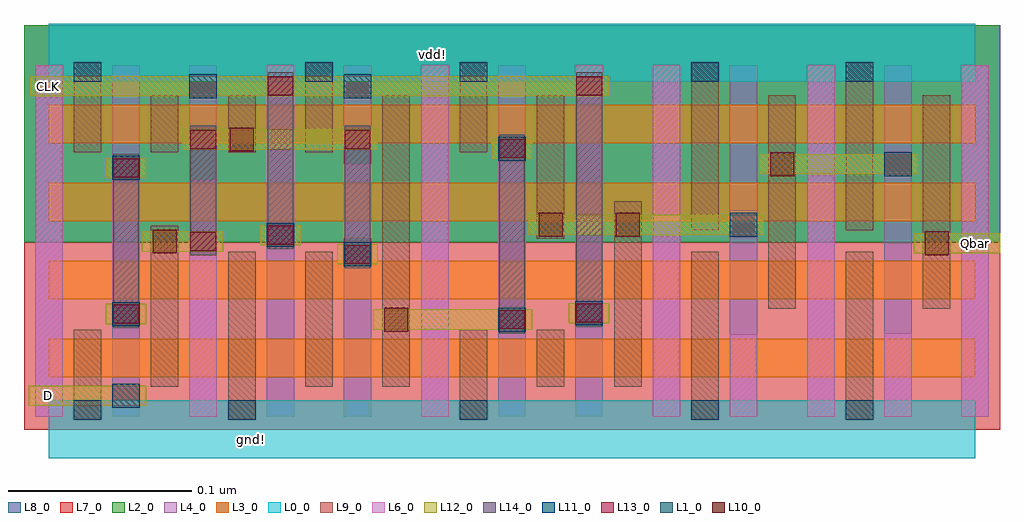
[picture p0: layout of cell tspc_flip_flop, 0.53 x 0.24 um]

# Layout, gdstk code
from math import pi, radians
import gdstk
lib = gdstk.Library(unit=1e-6, precision=5e-10)
def R(c, l, rs):  # rectangles x0, y0, x1, y1
    for r in rs: c.add(gdstk.rectangle(r[:2], r[2:], *l))
def A(c, l, x, y, w, h, nx, ny, dx, dy):  # array of equal rectangles
    R(c, l, [(x+i*dx, y+j*dy, x+i*dx+w, y+j*dy+h) for i in range(nx) for j in range(ny)])
L0_0 = (0, 0)
L1_0 = (1, 0)
L2_0 = (2, 0)
L3_0 = (3, 0)
L4_0 = (4, 0)
L6_0 = (6, 0)
L7_0 = (7, 0)
L8_0 = (8, 0)
L9_0 = (9, 0)
L10_0 = (10, 0)
L11_0 = (11, 0)
L12_0 = (12, 0)
L13_0 = (13, 0)
L14_0 = (14, 0)

pmos = lib.new_cell('pmos')
R(pmos, L2_0, [(-0.042,-0.0205,0.042,0.0205)])
R(pmos, L3_0, [(-0.042,-0.0105,0.042,0.0105)])
A(pmos, L4_0, -0.0495, -0.032, 0.015, 0.064, 3, 1, 0.042, 0)
R(pmos, L8_0, [(-0.0555,-0.0205,0.0555,0.0205)])
R(pmos, L9_0, [(-0.0285,-0.0155,-0.0135,0.0155), (0.0135,-0.0155,0.0285,0.0155)])

nmos = lib.new_cell('nmos')
R(nmos, L3_0, [(-0.042,-0.0105,0.042,0.0105)])
A(nmos, L4_0, -0.0495, -0.032, 0.015, 0.064, 3, 1, 0.042, 0)
R(nmos, L7_0, [(-0.0555,-0.021,0.0555,0.0205)])
R(nmos, L9_0, [(-0.0285,-0.0155,-0.0135,0.0155), (0.0135,-0.0155,0.0285,0.0155)])

m0b_m1 = lib.new_cell('M0B_M1')
R(m0b_m1, L12_0, [(-0.011,-0.005,0.011,0.005)])
R(m0b_m1, L13_0, [(-0.007,-0.005,0.007,0.005)])
R(m0b_m1, L14_0, [(-0.007,-0.0075,0.007,0.0075)])

m0a_m0b = lib.new_cell('M0A_M0B')
R(m0a_m0b, L9_0, [(-0.0075,-0.0055,0.0075,0.0055)])
R(m0a_m0b, L10_0, [(-0.0065,-0.0065,0.0065,0.0065)])
R(m0a_m0b, L12_0, [(-0.0125,-0.0055,0.0125,0.0055)])

bpr_m0a = lib.new_cell('BPR_M0A')
R(bpr_m0a, L0_0, [(-0.021,-0.0055,0.021,0.026)])
R(bpr_m0a, L1_0, [(-0.0075,-0.0055,0.0075,0.005)])
R(bpr_m0a, L9_0, [(-0.0075,-0.0165,0.0075,0.005)])

gate_m0b = lib.new_cell('GATE_M0B')
R(gate_m0b, L4_0, [(-0.0075,-0.0115,0.0075,0.0115)])
R(gate_m0b, L11_0, [(-0.0075,-0.0065,0.0075,0.0065)])
R(gate_m0b, L12_0, [(-0.011,-0.0055,0.011,0.0055)])

tspc_flip_flop = lib.new_cell('tspc_flip_flop')
R(tspc_flip_flop, L0_0, [(0.4025,0.176,0.9065,0.2075), (0.5,0.1795,0.5265,0.1935), (0.4025,0.381,0.9065,0.4125), (0.599,0.3895,0.6235,0.4015)])
R(tspc_flip_flop, L2_0, [(0.389,0.2935,0.92,0.4115)])
R(tspc_flip_flop, L3_0, [(0.7385,0.22,0.9065,0.241), (0.4025,0.2625,0.4865,0.2835), (0.6125,0.2625,0.7385,0.2835), (0.4025,0.305,0.7385,0.326), (0.6965,0.3475,0.7385,0.3685)])
A(tspc_flip_flop, L4_0, 0.395, 0.1985, 0.015, 0.1915, 9, 1, 0.042, 0)
A(tspc_flip_flop, L4_0, 0.815, 0.1985, 0.015, 0.1915, 3, 1, 0.042, 0)
R(tspc_flip_flop, L4_0, [(0.773,0.1985,0.788,0.241), (0.437,0.2625,0.452,0.326), (0.689,0.2625,0.704,0.326)])
A(tspc_flip_flop, L6_0, 0.479, 0.1985, 0.015, 0.1065, 3, 1, 0.126, 0)
A(tspc_flip_flop, L6_0, 0.521, 0.326, 0.015, 0.064, 3, 1, 0.084, 0)
R(tspc_flip_flop, L6_0, [(0.395,0.1985,0.41,0.305), (0.773,0.1985,0.788,0.2435), (0.815,0.1985,0.83,0.241), (0.857,0.1985,0.872,0.244), (0.899,0.1985,0.914,0.241), (0.815,0.241,0.83,0.39), (0.899,0.241,0.914,0.39), (0.647,0.2585,0.662,0.2875), (0.437,0.2615,0.452,0.327), (0.689,0.262,0.704,0.305), (0.647,0.2875,0.662,0.3375), (0.563,0.296,0.578,0.336), (0.521,0.3045,0.536,0.326), (0.395,0.305,0.41,0.326), (0.479,0.305,0.494,0.327), (0.605,0.305,0.62,0.326), (0.689,0.305,0.704,0.326), (0.731,0.305,0.746,0.39), (0.395,0.326,0.41,0.39)])
R(tspc_flip_flop, L7_0, [(0.389,0.1915,0.92,0.2935)])
R(tspc_flip_flop, L8_0, [(0.389,0.2935,0.92,0.4115)])
A(tspc_flip_flop, L9_0, 0.5, 0.2455, 0.015, 0.0125, 3, 1, 0.042, 0)
R(tspc_flip_flop, L9_0, [(0.752,0.2155,0.767,0.2585), (0.836,0.217,0.851,0.2585), (0.71,0.2445,0.725,0.316), (0.458,0.245,0.473,0.3025), (0.794,0.286,0.809,0.3025), (0.878,0.2875,0.893,0.3005), (0.584,0.288,0.599,0.3435), (0.668,0.2955,0.683,0.343), (0.458,0.2995,0.473,0.3015), (0.794,0.3285,0.809,0.3505), (0.878,0.3295,0.893,0.3435), (0.752,0.33,0.767,0.3435), (0.836,0.3305,0.851,0.3445)])
R(tspc_flip_flop, L12_0, [(0.3915,0.2045,0.4555,0.2155), (0.395,0.2045,0.41,0.2155), (0.579,0.246,0.6655,0.257), (0.873,0.2875,0.92,0.2985), (0.899,0.2875,0.914,0.2985), (0.4755,0.2885,0.4975,0.2995), (0.663,0.2975,0.73,0.3085), (0.7285,0.2975,0.7725,0.3085), (0.789,0.3305,0.856,0.3415), (0.4755,0.344,0.4975,0.355), (0.4835,0.344,0.52,0.355), (0.5,0.344,0.5815,0.355), (0.3925,0.373,0.4975,0.384), (0.395,0.373,0.41,0.384), (0.479,0.373,0.7075,0.384)])
R(tspc_flip_flop, L14_0, [(0.6475,0.244,0.6615,0.352), (0.4375,0.247,0.4515,0.3415), (0.6895,0.2475,0.7035,0.386), (0.5635,0.2795,0.5775,0.357), (0.4795,0.2865,0.4935,0.357), (0.5215,0.29,0.5355,0.386)])
tspc_flip_flop.add(gdstk.Reference(pmos, (0.7805,0.358)))
tspc_flip_flop.add(gdstk.Reference(pmos, (0.5705,0.358)))
tspc_flip_flop.add(gdstk.Reference(pmos, (0.4865,0.358)))
tspc_flip_flop.add(gdstk.Reference(pmos, (0.8645,0.358)))
tspc_flip_flop.add(gdstk.Reference(pmos, (0.8645,0.3155)))
tspc_flip_flop.add(gdstk.Reference(pmos, (0.7805,0.3155)))
tspc_flip_flop.add(gdstk.Reference(pmos, (0.4445,0.358)))
tspc_flip_flop.add(gdstk.Reference(pmos, (0.6545,0.358)))
tspc_flip_flop.add(gdstk.Reference(nmos, (0.5285,0.2305)))
tspc_flip_flop.add(gdstk.Reference(nmos, (0.6965,0.2305)))
tspc_flip_flop.add(gdstk.Reference(nmos, (0.4445,0.2305)))
tspc_flip_flop.add(gdstk.Reference(nmos, (0.7805,0.273)))
tspc_flip_flop.add(gdstk.Reference(nmos, (0.5705,0.273)))
tspc_flip_flop.add(gdstk.Reference(nmos, (0.8645,0.273)))
tspc_flip_flop.add(gdstk.Reference(nmos, (0.6545,0.2305)))
tspc_flip_flop.add(gdstk.Reference(nmos, (0.5285,0.273)))
tspc_flip_flop.add(gdstk.Reference(nmos, (0.5705,0.2305)))
tspc_flip_flop.add(gdstk.Reference(m0b_m1, (0.4445,0.334)))
tspc_flip_flop.add(gdstk.Reference(m0b_m1, (0.4445,0.2545)))
tspc_flip_flop.add(gdstk.Reference(m0b_m1, (0.6545,0.2515)))
tspc_flip_flop.add(gdstk.Reference(m0b_m1, (0.6545,0.3445)))
tspc_flip_flop.add(gdstk.Reference(m0b_m1, (0.5705,0.287)))
tspc_flip_flop.add(gdstk.Reference(m0b_m1, (0.5705,0.3495)))
tspc_flip_flop.add(gdstk.Reference(m0b_m1, (0.4865,0.294)))
tspc_flip_flop.add(gdstk.Reference(m0b_m1, (0.6965,0.255)))
tspc_flip_flop.add(gdstk.Reference(m0b_m1, (0.5285,0.3785)))
tspc_flip_flop.add(gdstk.Reference(m0b_m1, (0.6965,0.3785)))
tspc_flip_flop.add(gdstk.Reference(m0b_m1, (0.5285,0.2975)))
tspc_flip_flop.add(gdstk.Reference(m0b_m1, (0.4865,0.3495)))
tspc_flip_flop.add(gdstk.Reference(m0a_m0b, (0.8855,0.293)))
tspc_flip_flop.add(gdstk.Reference(m0a_m0b, (0.8015,0.336)))
tspc_flip_flop.add(gdstk.Reference(m0a_m0b, (0.6755,0.303)))
tspc_flip_flop.add(gdstk.Reference(m0a_m0b, (0.7175,0.303)))
tspc_flip_flop.add(gdstk.Reference(m0a_m0b, (0.5915,0.2515)))
tspc_flip_flop.add(gdstk.Reference(m0a_m0b, (0.4655,0.294)))
tspc_flip_flop.add(gdstk.Reference(m0a_m0b, (0.5075,0.3495)))
tspc_flip_flop.add(gdstk.Reference(bpr_m0a, (0.8435,0.202), rotation=pi))
tspc_flip_flop.add(gdstk.Reference(bpr_m0a, (0.7595,0.202), rotation=pi))
tspc_flip_flop.add(gdstk.Reference(bpr_m0a, (0.8435,0.3865)))
tspc_flip_flop.add(gdstk.Reference(bpr_m0a, (0.7595,0.3865)))
tspc_flip_flop.add(gdstk.Reference(bpr_m0a, (0.6335,0.3865)))
tspc_flip_flop.add(gdstk.Reference(bpr_m0a, (0.6335,0.202), rotation=pi))
tspc_flip_flop.add(gdstk.Reference(bpr_m0a, (0.5495,0.3865)))
tspc_flip_flop.add(gdstk.Reference(bpr_m0a, (0.5075,0.202), rotation=pi))
tspc_flip_flop.add(gdstk.Reference(bpr_m0a, (0.4235,0.3865)))
tspc_flip_flop.add(gdstk.Reference(bpr_m0a, (0.4235,0.202), rotation=pi))
tspc_flip_flop.add(gdstk.Reference(gate_m0b, (0.4445,0.334)))
tspc_flip_flop.add(gdstk.Reference(gate_m0b, (0.4445,0.2545)))
tspc_flip_flop.add(gdstk.Reference(gate_m0b, (0.8645,0.336)))
tspc_flip_flop.add(gdstk.Reference(gate_m0b, (0.7805,0.303)))
tspc_flip_flop.add(gdstk.Reference(gate_m0b, (0.6545,0.3445)))
tspc_flip_flop.add(gdstk.Reference(gate_m0b, (0.6545,0.2515)))
tspc_flip_flop.add(gdstk.Reference(gate_m0b, (0.5705,0.287)))
tspc_flip_flop.add(gdstk.Reference(gate_m0b, (0.6965,0.255)))
tspc_flip_flop.add(gdstk.Reference(gate_m0b, (0.5705,0.3785)))
tspc_flip_flop.add(gdstk.Reference(gate_m0b, (0.5285,0.2975)))
tspc_flip_flop.add(gdstk.Reference(gate_m0b, (0.4445,0.21)))
tspc_flip_flop.add(gdstk.Reference(gate_m0b, (0.4865,0.3785)))
tspc_flip_flop.add(gdstk.Label('Qbar', (0.9065,0.293), layer=12, texttype=0))
tspc_flip_flop.add(gdstk.Label('CLK', (0.4025,0.3785), layer=12, texttype=0))
tspc_flip_flop.add(gdstk.Label('D', (0.4025,0.21), layer=12, texttype=0))
tspc_flip_flop.add(gdstk.Label('vdd!', (0.611,0.3955), layer=0, texttype=0))
tspc_flip_flop.add(gdstk.Label('gnd!', (0.513,0.1865), layer=0, texttype=0))

lib.write_gds('tspc_flip_flop.gds')
